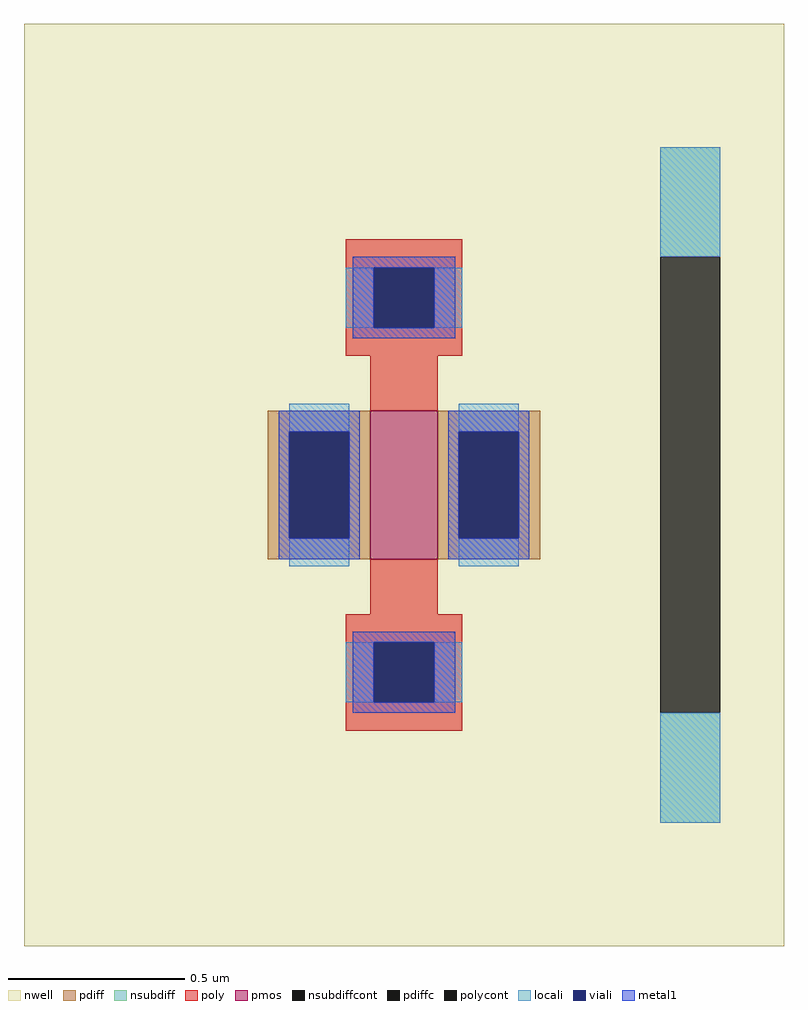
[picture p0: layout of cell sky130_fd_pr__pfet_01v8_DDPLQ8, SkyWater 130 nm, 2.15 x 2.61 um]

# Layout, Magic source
magic
tech sky130A
magscale 1 2
<< nwell >>
rect -215 -261 215 261
<< pmos >>
rect -19 -42 19 42
<< pdiff >>
rect -77 30 -19 42
rect -77 -30 -65 30
rect -31 -30 -19 30
rect -77 -42 -19 -30
rect 19 30 77 42
rect 19 -30 31 30
rect 65 -30 77 30
rect 19 -42 77 -30
<< pdiffc >>
rect -65 -30 -31 30
rect 31 -30 65 30
<< nsubdiff >>
rect 145 129 179 191
rect 145 -191 179 -129
<< nsubdiffcont >>
rect 145 -129 179 129
<< poly >>
rect -33 123 33 139
rect -33 89 -17 123
rect 17 89 33 123
rect -33 73 33 89
rect -19 42 19 73
rect -19 -73 19 -42
rect -33 -89 33 -73
rect -33 -123 -17 -89
rect 17 -123 33 -89
rect -33 -139 33 -123
<< polycont >>
rect -17 89 17 123
rect -17 -123 17 -89
<< locali >>
rect 145 129 179 191
rect -33 89 -17 123
rect 17 89 33 123
rect -65 30 -31 46
rect -65 -46 -31 -30
rect 31 30 65 46
rect 31 -46 65 -30
rect -33 -123 -17 -89
rect 17 -123 33 -89
rect 145 -191 179 -129
<< viali >>
rect -17 89 17 123
rect -65 -30 -31 30
rect 31 -30 65 30
rect -17 -123 17 -89
<< metal1 >>
rect -29 123 29 129
rect -29 89 -17 123
rect 17 89 29 123
rect -29 83 29 89
rect -71 30 -25 42
rect -71 -30 -65 30
rect -31 -30 -25 30
rect -71 -42 -25 -30
rect 25 30 71 42
rect 25 -30 31 30
rect 65 -30 71 30
rect 25 -42 71 -30
rect -29 -89 29 -83
rect -29 -123 -17 -89
rect 17 -123 29 -89
rect -29 -129 29 -123
<< properties >>
string FIXED_BBOX -162 -208 162 208
string gencell sky130_fd_pr__pfet_01v8
string library sky130
string parameters w 0.42 l 0.193 m 1 nf 1 diffcov 100 polycov 100 guard 1 glc 1 grc 1 gtc 1 gbc 1 tbcov 100 rlcov 100 topc 1 botc 1 poverlap 0 doverlap 1 lmin 0.15 wmin 0.42 compatible {sky130_fd_pr__pfet_01v8  sky130_fd_pr__pfet_01v8_lvt sky130_fd_pr__pfet_01v8_hvt  sky130_fd_pr__pfet_g5v0d10v5} full_metal 1 viasrc 100 viadrn 100 viagate 100 viagb 0 viagr 0 viagl 0 viagt 0
<< end >>
